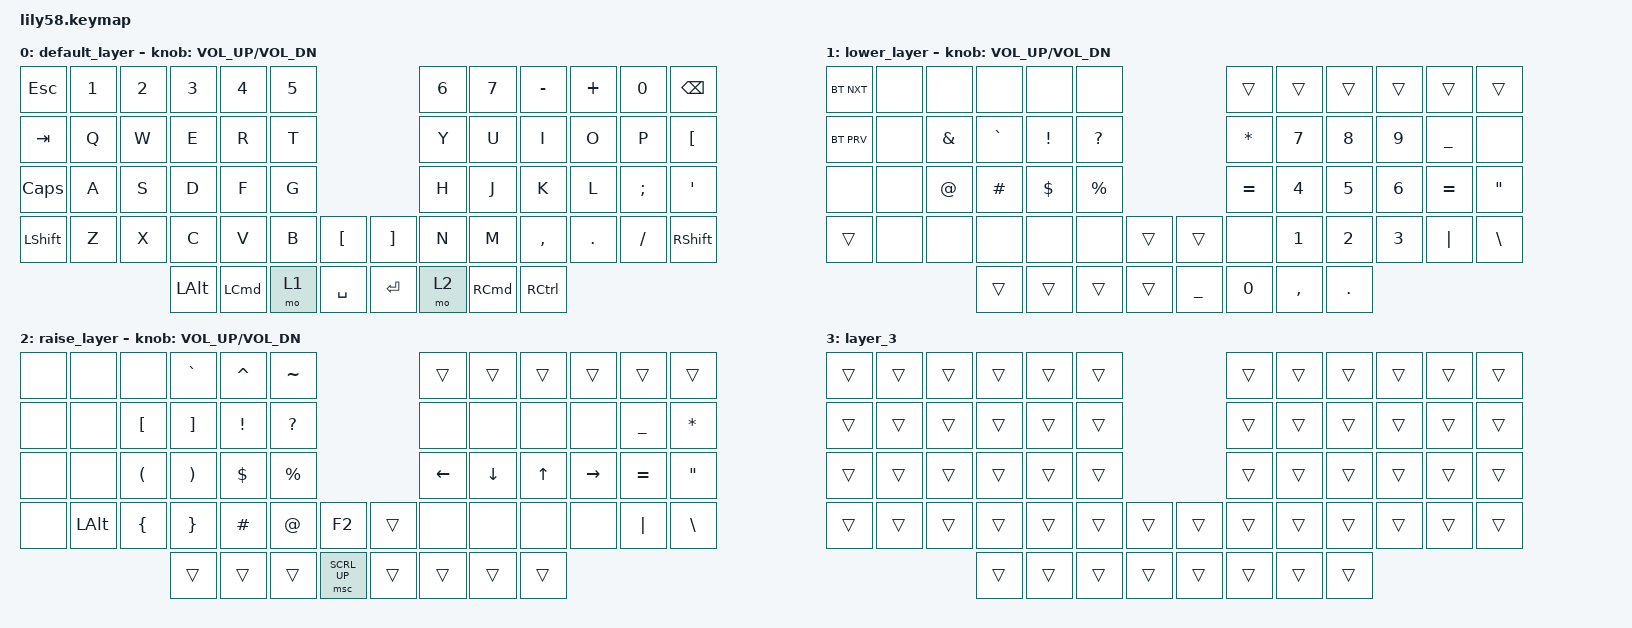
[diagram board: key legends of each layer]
/*
 * Copyright (c) 2020 The ZMK Contributors
 *
 * SPDX-License-Identifier: MIT
 */

#include <behaviors.dtsi>
#include <dt-bindings/zmk/bt.h>
#include <dt-bindings/zmk/keys.h>
#include <dt-bindings/zmk/pointing.h>

/ {
    combos {
        compatible = "zmk,combos";

        ru_us {
            bindings = <&kp RA(O)>;
            key-positions = <55 21>;
            timeout-ms = <100>;
        };

        leader_leader {
            bindings = <&kp RA(SPACE)>;
            key-positions = <52 43>;
            timeout-ms = <100>;
        };
    };

    behaviors {
        ss_hs_modmorph: ss_hs_modmorph {
            compatible = "zmk,behavior-mod-morph";
            label = "SS_HS_MODMORPH";
            bindings = <&kp M>, <&kp RIGHT_BRACKET>;

            #binding-cells = <0>;
            mods = <(MOD_LSFT|MOD_RSFT)>;
        };

        kh_hs_tapdance: kh_hs_tapdance {
            compatible = "zmk,behavior-tap-dance";
            label = "KH_HS_TAPDANCE";
            #binding-cells = <0>;
            tapping-term-ms = <200>;
            bindings = <&kp LEFT_BRACKET>, <&kp RIGHT_BRACKET>;
        };

        hrm: hrm {
            compatible = "zmk,behavior-hold-tap";
            #binding-cells = <2>;
            flavor = "tap-preferred";
            tapping-term-ms = <200>;
            quick-tap-ms = <200>;
            require-prior-idle-ms = <125>;
            bindings = <&kp>, <&kp>;
        };
    };

    keymap {
        compatible = "zmk,keymap";

        default_layer {
            // ------------------------------------------------------------------------------------------------------------
            // |  ESC  |  1  |  2  |  3   |  4   |  5   |                   |  6   |  7    |  8    |  9   |   0   |   `   |
            // |  TAB  |  Q  |  W  |  E   |  R   |  T   |                   |  Y   |  U    |  I    |  O   |   P   |   -   |
            // |  CTRL |  A  |  S  |  D   |  F   |  G   |                   |  H   |  J    |  K    |  L   |   ;   |   '   |
            // | SHIFT |  Z  |  X  |  C   |  V   |  B   |   "["  |  |  "]"  |  N   |  M    |  ,    |  .   |   /   | SHIFT |
            //                     | ALT  | GUI  | LOWER|  SPACE |  | ENTER | RAISE| BSPC  | GUI   |

            bindings = <
&kp ESC       &kp N1  &kp N2  &kp N3        &kp N4            &kp N5                         &kp N6  &kp N7             &kp MINUS          &kp PLUS  &kp N0    &kp BACKSPACE
&kp TAB       &kp Q   &kp W   &kp E         &kp R             &kp T                          &kp Y   &kp U              &kp I              &kp O     &kp P     &kp LEFT_BRACKET
&kp CAPSLOCK  &kp A   &kp S   &kp D         &kp F             &kp G                          &kp H   &kp J              &kp K              &kp L     &kp SEMI  &kp SQT
&kp LSHFT     &kp Z   &kp X   &kp C         &kp V             &kp B   &kp LBKT     &kp RBKT  &kp N   &kp M              &kp COMMA          &kp DOT   &kp FSLH  &kp RSHFT
                              &kp LEFT_ALT  &kp LEFT_COMMAND  &mo 1   &kp SPACE    &kp RET   &mo 2   &kp RIGHT_COMMAND  &kp RIGHT_CONTROL
            >;

            sensor-bindings = <&inc_dec_kp C_VOL_UP C_VOL_DN>;
        };

        lower_layer {
            // ------------------------------------------------------------------------------------------------------------
            // | BTCLR | BT1 | BT2 |  BT3 |  BT4 |  BT5 |                   |      |       |       |      |       |       |
            // |  F1   |  F2 |  F3 |  F4  |  F5  |  F6  |                   |  F7  |  F8   |  F9   |  F10 |  F11  |  F12  |
            // |   `   |  !  |  @  |  #   |  $   |  %   |                   |  ^   |  &    |  *    |  (   |   )   |   ~   |
            // |       |     |     |      |      |      |        |  |       |      |  _    |  +    |  {   |   }   |  "|"  |
            //                     |      |      |      |        |  |       |      |       |       |

            bindings = <
&bt BT_NXT  &none  &none          &none      &none            &none                                   &trans        &trans        &trans        &trans        &trans          &trans
&bt BT_PRV  &none  &kp AMPERSAND  &kp GRAVE  &kp EXCLAMATION  &kp QUESTION                            &kp ASTERISK  &kp NUMBER_7  &kp N8        &kp NUMBER_9  &kp UNDERSCORE  &none
&none       &none  &kp AT         &kp HASH   &kp DOLLAR       &kp PRCNT                               &kp EQUAL     &kp NUMBER_4  &kp NUMBER_5  &kp NUMBER_6  &kp EQUAL       &kp DOUBLE_QUOTES
&trans      &none  &none          &none      &none            &none         &trans    &trans          &none         &kp NUMBER_1  &kp NUMBER_2  &kp NUMBER_3  &kp PIPE        &kp BACKSLASH
                                  &trans     &trans           &trans        &trans    &kp UNDERSCORE  &kp NUMBER_0  &kp COMMA     &kp DOT
            >;

            sensor-bindings = <&inc_dec_kp C_VOL_UP C_VOL_DN>;
        };

        raise_layer {
            // ------------------------------------------------------------------------------------------------------------
            // |       |     |     |      |      |      |                   |      |       |       |      |       |       |
            // |   `   |  1  |  2  |  3   |  4   |  5   |                   |  6   |   7   |   8   |  9   |   0   |       |
            // |   F1  |  F2 |  F3 |  F4  |  F5  |  F6  |                   |      |   <-  |   v   |  ^   |  ->   |       |
            // |   F7  |  F8 |  F9 |  F10 |  F11 |  F12 |        |  |       |  +   |   -   |   =   |  [   |   ]   |   \   |
            //                     |      |      |      |        |  |       |      |       |       |

            bindings = <
&none  &none         &none                 &kp GRAVE              &kp CARET        &kp TILDE                             &trans          &trans          &trans        &trans           &trans          &trans
&none  &none         &kp LEFT_BRACKET      &kp RIGHT_BRACKET      &kp EXCLAMATION  &kp QUESTION                          &none           &none           &none         &none            &kp UNDERSCORE  &kp ASTERISK
&none  &none         &kp LEFT_PARENTHESIS  &kp RIGHT_PARENTHESIS  &kp DOLLAR       &kp PERCENT                           &kp LEFT_ARROW  &kp DOWN_ARROW  &kp UP_ARROW  &kp RIGHT_ARROW  &kp EQUAL       &kp DOUBLE_QUOTES
&none  &kp LEFT_ALT  &kp LEFT_BRACE        &kp RIGHT_BRACE        &kp POUND        &kp AT_SIGN   &kp F2          &trans  &none           &none           &none         &none            &kp PIPE        &kp BACKSLASH
                                           &trans                 &trans           &trans        &msc SCRL_UP    &trans  &trans          &trans          &trans
            >;

            sensor-bindings = <&inc_dec_kp C_VOL_UP C_VOL_DN>;
        };

        layer_3 {
            bindings = <
&trans  &trans  &trans  &trans  &trans  &trans                    &trans  &trans  &trans  &trans  &trans  &trans
&trans  &trans  &trans  &trans  &trans  &trans                    &trans  &trans  &trans  &trans  &trans  &trans
&trans  &trans  &trans  &trans  &trans  &trans                    &trans  &trans  &trans  &trans  &trans  &trans
&trans  &trans  &trans  &trans  &trans  &trans  &trans    &trans  &trans  &trans  &trans  &trans  &trans  &trans
                        &trans  &trans  &trans  &trans    &trans  &trans  &trans  &trans
            >;
        };
    };
};
